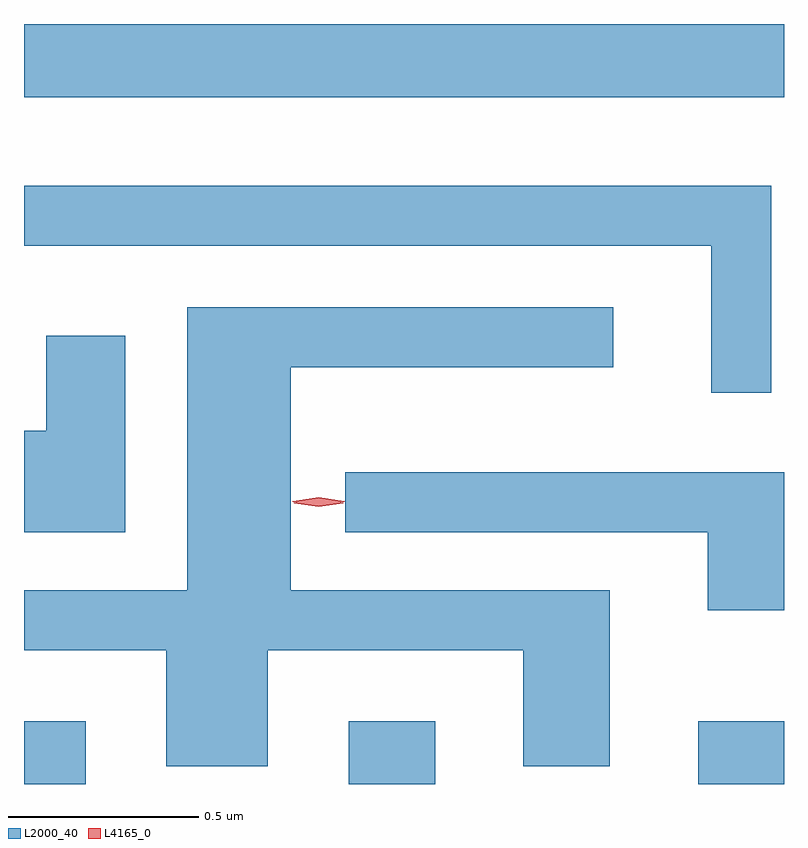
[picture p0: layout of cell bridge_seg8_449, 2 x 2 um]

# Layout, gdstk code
import gdstk
lib = gdstk.Library(unit=1e-6, precision=1e-09)
def R(c, l, rs):  # rectangles x0, y0, x1, y1
    for r in rs: c.add(gdstk.rectangle(r[:2], r[2:], *l))
def P(c, l, *ps):  # polygons
    for p in ps: c.add(gdstk.Polygon(p, *l))
L2000_40 = (2000, 40)
L4165_0 = (4165, 0)

bridge_seg8_449 = lib.new_cell('bridge_seg8_449')
R(bridge_seg8_449, L2000_40, [(982.247,1845.709,982.409,1845.874), (983.101,1845.709,983.329,1845.874), (984.021,1845.709,984.247,1845.874), (982.247,1847.516,984.247,1847.709)])
P(bridge_seg8_449, L2000_40, [(984.214,1847.284),(982.247,1847.284),(982.247,1847.126),(984.056,1847.126),(984.056,1846.738),(984.214,1846.738)],
  [(982.889,1846.061),(983.561,1846.061),(983.561,1845.756),(983.789,1845.756),(983.789,1846.219),(982.949,1846.219),(982.949,1846.806),(983.798,1846.806),(983.798,1846.964),(982.676,1846.964),(982.676,1846.219),(982.247,1846.219),(982.247,1846.061),(982.621,1846.061),(982.621,1845.756),(982.889,1845.756)],
  [(982.514,1846.889),(982.306,1846.889),(982.306,1846.639),(982.247,1846.639),(982.247,1846.371),(982.514,1846.371)],
  [(984.247,1846.529),(983.093,1846.529),(983.093,1846.371),(984.046,1846.371),(984.046,1846.166),(984.247,1846.166)])
P(bridge_seg8_449, L4165_0, [(983.022,1846.443),(982.954,1846.452),(982.953,1846.453),(982.954,1846.453),(983.022,1846.463),(983.09,1846.453),(983.091,1846.453),(983.09,1846.452)],
  [(983.022,1846.439),(982.958,1846.448),(982.957,1846.449),(982.958,1846.449),(983.022,1846.459),(983.087,1846.449),(983.087,1846.449),(983.087,1846.448)])

lib.write_gds('bridge_seg8_449.gds')
